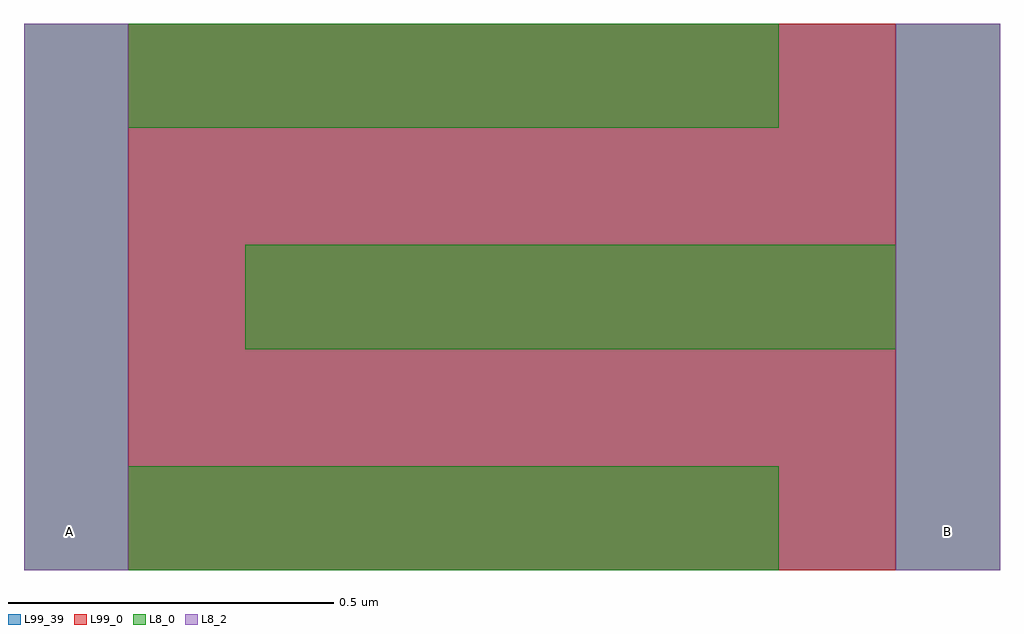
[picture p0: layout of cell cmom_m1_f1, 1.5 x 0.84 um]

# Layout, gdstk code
import gdstk
lib = gdstk.Library(unit=1e-6, precision=5e-09)
def R(c, l, rs):  # rectangles x0, y0, x1, y1
    for r in rs: c.add(gdstk.rectangle(r[:2], r[2:], *l))
L8_0 = (8, 0)
L8_2 = (8, 2)
L99_0 = (99, 0)
L99_39 = (99, 39)

cmom_m1_f1 = lib.new_cell('cmom_m1_f1')
R(cmom_m1_f1, L8_0, [(-0.16,-0.84,0,0), (0,-0.84,1,-0.68), (1.18,-0.84,1.34,0), (0.18,-0.5,1.18,-0.34), (0,-0.16,1,0)])
R(cmom_m1_f1, L8_2, [(-0.16,-0.84,0,0), (1.18,-0.84,1.34,0)])
R(cmom_m1_f1, L99_0, [(0,-0.84,1.18,0)])
R(cmom_m1_f1, L99_39, [(0,-0.84,1.18,0)])
cmom_m1_f1.add(gdstk.Label('A', (-0.09,-0.78), layer=8, texttype=25))
cmom_m1_f1.add(gdstk.Label('B', (1.26,-0.78), layer=8, texttype=25))

lib.write_gds('cmom_m1_f1.gds')
